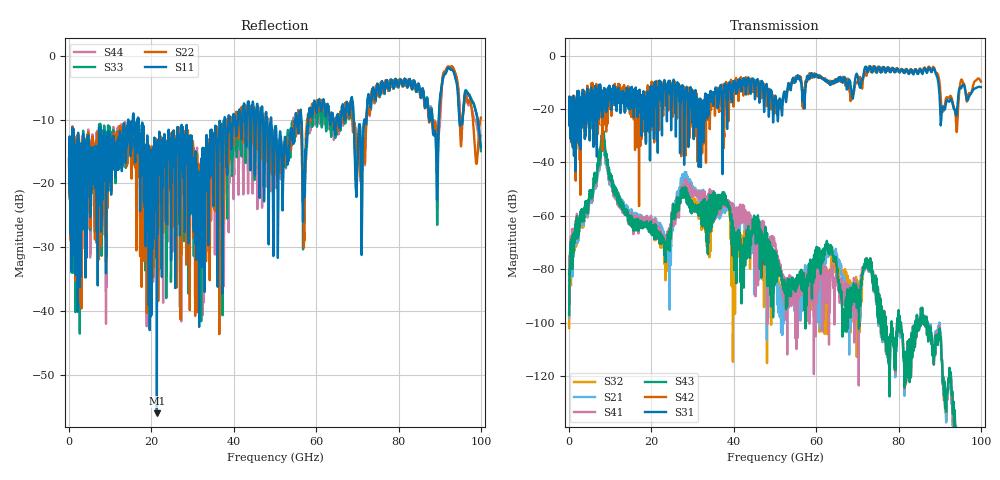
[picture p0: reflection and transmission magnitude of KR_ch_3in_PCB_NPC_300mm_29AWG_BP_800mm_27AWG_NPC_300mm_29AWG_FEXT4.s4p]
# GHz S RI R 45
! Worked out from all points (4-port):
!   4000 points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, 25 MHz to 100 GHz, reference 45 ohm
!   strongest paths, dB at 25 MHz, 25.02 GHz, 50.02 GHz, 75.03 GHz, 100 GHz:
!     S31: -20.6, -14.3, -15.8, -5.2, -11.8
!     S42: -20.6, -18.0, -18.0, -4.3, -9.8
!     S43: -97.2, -60.1, -82.8, -89.7, -173.7
!     S41: -92.1, -60.3, -70.6, -89.9, -174.3
!     S21: -98.0, -62.6, -79.0, -89.9, -175.9
!     S32: -102.0, -60.9, -81.6, -89.5, -173.8
!   lowest |S11| = -56.0 dB at 21.32 GHz (marker M1), VSWR 1.00, Z = 44.9 + j0.12 ohm
!   |S11| at or under -10 dB: start of sweep to 14.4 GHz; 16.85 GHz to 37.75 GHz (20.9 GHz wide, 76.6 % of centre); 49.1 GHz to 54.96 GHz (5.865 GHz wide, 11.3 % of centre) (the widest 3 of 34)
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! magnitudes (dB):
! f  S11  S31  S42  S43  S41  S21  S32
! 25 MHz  -16.1  -20.6  -20.6  -97.2  -92.1  -98.0  -102.0
! 8.2 GHz  -18.7  -17.0  -26.6  -28.2  -30.1  -32.0  -29.7
! 21.32 GHz  -56.0  -20.7  -11.1  -66.7  -66.2  -63.9  -66.3
! 24.32 GHz  -14.6  -10.8  -14.6  -65.9  -65.8  -72.8  -69.0
! 27.95 GHz  -21.5  -40.9  -13.4  -51.7  -49.9  -47.0  -48.5
! 48.27 GHz  -13.9  -14.5  -13.4  -71.4  -72.8  -87.5  -75.0
! 100 GHz  -14.4  -11.8  -9.8  -173.7  -174.3  -175.9  -173.8
